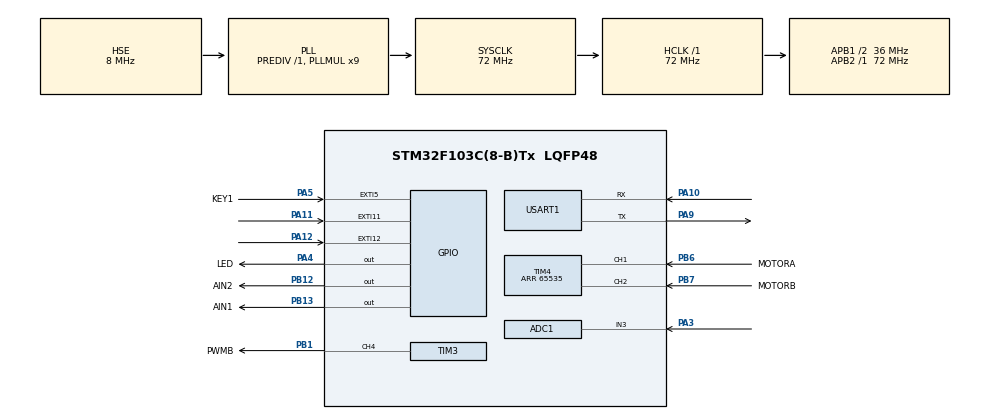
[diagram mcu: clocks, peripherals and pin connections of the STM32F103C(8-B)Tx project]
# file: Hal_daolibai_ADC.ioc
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ADC1.Channel-2\#ChannelRegularConversion=ADC_CHANNEL_3
ADC1.ContinuousConvMode=ENABLE
ADC1.DataAlign=ADC_DATAALIGN_RIGHT
ADC1.DiscontinuousConvMode=DISABLE
ADC1.EnableAnalogWatchDog=false
ADC1.EnableRegularConversion=ENABLE
ADC1.ExternalTrigConv=ADC_SOFTWARE_START
ADC1.InjNumberOfConversion=0
ADC1.NbrOfConversion=1
ADC1.NbrOfConversionFlag=1
ADC1.Rank-2\#ChannelRegularConversion=1
ADC1.SamplingTime-2\#ChannelRegularConversion=ADC_SAMPLETIME_55CYCLES_5
ADC1.ScanConvMode=ADC_SCAN_DISABLE
ADC1.master=1
Mcu.Family=STM32F1
Mcu.Name=STM32F103C(8-B)Tx
Mcu.Package=LQFP48
NVIC.ADC1_2_IRQn=true\:1\:0\:true\:false\:true\:true
NVIC.EXTI15_10_IRQn=true\:1\:0\:true\:false\:true\:true
NVIC.EXTI9_5_IRQn=true\:1\:0\:true\:false\:true\:true
NVIC.PriorityGroup=NVIC_PRIORITYGROUP_4
NVIC.TIM1_UP_IRQn=true\:1\:0\:true\:false\:true\:true
PA10.Mode=Asynchronous
PA10.Signal=USART1_RX
PA11.GPIO_ModeDefaultEXTI=GPIO_MODE_IT_FALLING
PA11.GPIO_PuPd=GPIO_PULLUP
PA11.Signal=GPXTI11
PA12.GPIO_ModeDefaultEXTI=GPIO_MODE_IT_FALLING
PA12.GPIO_PuPd=GPIO_PULLUP
PA12.Signal=GPXTI12
PA13.Mode=Serial_Wire
PA13.Signal=SYS_JTMS-SWDIO
PA14.Mode=Serial_Wire
PA14.Signal=SYS_JTCK-SWCLK
PA3.Signal=ADCx_IN3
PA4.GPIO_Label=LED
PA4.GPIO_PuPd=GPIO_NOPULL
PA4.GPIO_Speed=GPIO_SPEED_FREQ_LOW
PA4.PinState=GPIO_PIN_SET
PA4.Signal=GPIO_Output
PA5.GPIO_Label=KEY1
PA5.GPIO_ModeDefaultEXTI=GPIO_MODE_IT_FALLING
PA5.GPIO_PuPd=GPIO_PULLUP
PA5.Signal=GPXTI5
PA9.Mode=Asynchronous
PA9.Signal=USART1_TX
PB1.GPIO_Label=PWMB
PB1.GPIO_Speed=GPIO_SPEED_FREQ_MEDIUM
PB1.Signal=S_TIM3_CH4
PB12.GPIO_Label=AIN2
PB12.GPIO_Speed=GPIO_SPEED_FREQ_LOW
PB12.Signal=GPIO_Output
PB13.GPIO_Label=AIN1
PB13.GPIO_Speed=GPIO_SPEED_FREQ_LOW
PB13.Signal=GPIO_Output
PB6.GPIO_Label=MOTORA
PB6.Signal=S_TIM4_CH1
PB7.GPIO_Label=MOTORB
PB7.Signal=S_TIM4_CH2
PD0-OSC_IN.Mode=HSE-External-Oscillator
PD0-OSC_IN.Signal=RCC_OSC_IN
PD1-OSC_OUT.Mode=HSE-External-Oscillator
PD1-OSC_OUT.Signal=RCC_OSC_OUT
ProjectManager.HeapSize=0x200
ProjectManager.StackSize=0x400
ProjectManager.TargetToolchain=MDK-ARM V5
RCC.ADCPresc=RCC_ADCPCLK2_DIV6
RCC.AHBFreq_Value=72000000
RCC.APB1CLKDivider=RCC_HCLK_DIV2
RCC.APB1Freq_Value=36000000
RCC.APB1TimFreq_Value=72000000
RCC.APB2Freq_Value=72000000
RCC.APB2TimFreq_Value=72000000
RCC.HCLKFreq_Value=72000000
RCC.PLLMUL=RCC_PLL_MUL9
RCC.PLLSourceVirtual=RCC_PLLSOURCE_HSE
RCC.SYSCLKFreq_VALUE=72000000
RCC.SYSCLKSource=RCC_SYSCLKSOURCE_PLLCLK
RCC.USBFreq_Value=72000000
SH.ADCx_IN3.0=ADC1_IN3,IN3
SH.S_TIM3_CH4.0=TIM3_CH4,PWM Generation4 CH4
SH.S_TIM4_CH1.0=TIM4_CH1,Encoder_Interface
SH.S_TIM4_CH2.0=TIM4_CH2,Encoder_Interface
TIM1.AutoReloadPreload=TIM_AUTORELOAD_PRELOAD_DISABLE
TIM1.Period=1000
TIM1.Prescaler=71
TIM1.RepetitionCounter=0
TIM3.Channel-PWM\ Generation4\ CH4=TIM_CHANNEL_4
TIM3.Period=10000
TIM3.Prescaler=1
TIM4.EncoderMode=TIM_ENCODERMODE_TI12
TIM4.IC1Filter=6
TIM4.IC2Filter=6
TIM4.Period=65535
USART1.VirtualMode=VM_ASYNC
VP_TIM1_VS_ClockSourceINT.Mode=Internal
VP_TIM3_VS_ClockSourceINT.Mode=Internal
board=custom

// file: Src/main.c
/**
  ******************************************************************************
  * @file           : main.c
  * @brief          : Main program body
  ******************************************************************************
  ** This notice applies to any and all portions of this file
  * that are not between comment pairs USER CODE BEGIN and
  * USER CODE END. Other portions of this file, whether
  * inserted by the user or by software development tools
  * are owned by their respective copyright owners.
  *
  * COPYRIGHT(c) 2019 STMicroelectronics
  *
  * Redistribution and use in source and binary forms, with or without modification,
  * are permitted provided that the following conditions are met:
  *   1. Redistributions of source code must retain the above copyright notice,
  *      this list of conditions and the following disclaimer.
  *   2. Redistributions in binary form must reproduce the above copyright notice,
  *      this list of conditions and the following disclaimer in the documentation
  *      and/or other materials provided with the distribution.
  *   3. Neither the name of STMicroelectronics nor the names of its contributors
  *      may be used to endorse or promote products derived from this software
  *      without specific prior written permission.
  *
  * THIS SOFTWARE IS PROVIDED BY THE COPYRIGHT HOLDERS AND CONTRIBUTORS "AS IS"
  * AND ANY EXPRESS OR IMPLIED WARRANTIES, INCLUDING, BUT NOT LIMITED TO, THE
  * IMPLIED WARRANTIES OF MERCHANTABILITY AND FITNESS FOR A PARTICULAR PURPOSE ARE
  * DISCLAIMED. IN NO EVENT SHALL THE COPYRIGHT HOLDER OR CONTRIBUTORS BE LIABLE
  * FOR ANY DIRECT, INDIRECT, INCIDENTAL, SPECIAL, EXEMPLARY, OR CONSEQUENTIAL
  * DAMAGES (INCLUDING, BUT NOT LIMITED TO, PROCUREMENT OF SUBSTITUTE GOODS OR
  * SERVICES; LOSS OF USE, DATA, OR PROFITS; OR BUSINESS INTERRUPTION) HOWEVER
  * CAUSED AND ON ANY THEORY OF LIABILITY, WHETHER IN CONTRACT, STRICT LIABILITY,
  * OR TORT (INCLUDING NEGLIGENCE OR OTHERWISE) ARISING IN ANY WAY OUT OF THE USE
  * OF THIS SOFTWARE, EVEN IF ADVISED OF THE POSSIBILITY OF SUCH DAMAGE.
  *
  ******************************************************************************
  */
#include "main.h"
#include "stm32f1xx_hal.h"
#include "adc.h"
#include "tim.h"
#include "usart.h"
#include "gpio.h"

/* USER CODE BEGIN Includes */
#include "led.h"
#include "encoder.h"
#include "motor.h"
#include "control.h"
#include "adc.h"
#include "timer.h"
#include "tim.h"
#include "key.h"

#include "stdio.h"
#ifdef __GNUC__
#define PUTCHAR_PROTOTYPE int __io_putchar(int ch)
#else
#define PUTCHAR_PROTOTYPE int fputc(int ch, FILE *f)
#endif /* __GNUC__ */
PUTCHAR_PROTOTYPE
{
	HAL_UART_Transmit(&huart1 , (uint8_t *)&ch, 1, 0xFFFF);
	return ch;
}

/* USER CODE END Includes */

/* USER CODE BEGIN PV */
/* Private variables ---------------------------------------------------------*/

__IO float ADC_ConvertedValueLocal=0;			// 用于保存转换计算后的电压值
__IO int Angle_Balance=0;
__IO int Encoder_Balance=0;
__IO int Balance_Pwm=0;
__IO int Position_Pwm=0;
__IO int Position_Zero=10000;            //编码器的脉冲计数
__IO int Flag_Target=0;
__IO int Position_Target=0;
__IO int Moto=0;
__IO int Para1=0;
__IO int Para2=0;
__IO int Error_temp=0;
__IO int Error_Target=0;
__IO uint8_t Flag_Stop=1;
__IO uint8_t Position_Key=0;
__IO uint16_t ADC_ConvertedValue=0;			// AD转换结果值
__IO uint16_t timer_count=0;
__IO uint16_t timer_count2=0;
__IO uint16_t Times_up=0;

/* USER CODE END PV */

void SystemClock_Config(void);

/* USER CODE BEGIN PFP */
/* Private function prototypes -----------------------------------------------*/

/* USER CODE END PFP */

int main(void)
{

  /* MCU Configuration----------------------------------------------------------*/

  /* Reset of all peripherals, Initializes the Flash interface and the Systick. */
  HAL_Init();

  /* Configure the system clock */
  SystemClock_Config();

  /* Initialize all configured peripherals */
  MX_GPIO_Init();
  MX_USART1_UART_Init();
  MX_ADC1_Init();
  MX_TIM1_Init();
  MX_TIM4_Init();
  MX_TIM3_Init();
  /* USER CODE BEGIN 2 */
//	Angle_Adc_Init();
	Motor_Init();
	HAL_ADC_Start_IT(&hadc1);
	HAL_TIM_Base_Start_IT(&htim1);
	HAL_TIM_Base_Start_IT(&htim4);
	HAL_TIM_Base_Start_IT(&htim3);
	HAL_TIM_Encoder_Start(&htim4,TIM_CHANNEL_ALL);
	PID_Init(&Motor_AnglePID, Angle_KP, Angle_KI,Angle_KD);
	PID_Init(&Motor_PostionPID, Position_KP, Position_KI,Position_KD);
	printf("----这是一个ADC单通道电压采集+按键中断+定时器+内外环PID实验-----\n");
  /* USER CODE END 2 */

  /* Infinite loop */
  /* USER CODE BEGIN WHILE */
	PID_SetPoint(&Motor_AnglePID,ZHONGZHI);

  while (1)
  {

  /* USER CODE END WHILE */

  /* USER CODE BEGIN 3 */
		printf("ADC_ConvertedValue当前值为：   %d\r\n",ADC_ConvertedValue);
		HAL_Delay(500);

  }
  /* USER CODE END 3 */

}

void SystemClock_Config(void)
{

  RCC_OscInitTypeDef RCC_OscInitStruct;
  RCC_ClkInitTypeDef RCC_ClkInitStruct;
  RCC_PeriphCLKInitTypeDef PeriphClkInit;

    /**Initializes the CPU, AHB and APB busses clocks
    */
  RCC_OscInitStruct.OscillatorType = RCC_OSCILLATORTYPE_HSE;
  RCC_OscInitStruct.HSEState = RCC_HSE_ON;
  RCC_OscInitStruct.HSEPredivValue = RCC_HSE_PREDIV_DIV1;
  RCC_OscInitStruct.HSIState = RCC_HSI_ON;
  RCC_OscInitStruct.PLL.PLLState = RCC_PLL_ON;
  RCC_OscInitStruct.PLL.PLLSource = RCC_PLLSOURCE_HSE;
  RCC_OscInitStruct.PLL.PLLMUL = RCC_PLL_MUL9;
  if (HAL_RCC_OscConfig(&RCC_OscInitStruct) != HAL_OK)
  {
    _Error_Handler(__FILE__, __LINE__);
  }

    /**Initializes the CPU, AHB and APB busses clocks
    */
  RCC_ClkInitStruct.ClockType = RCC_CLOCKTYPE_HCLK|RCC_CLOCKTYPE_SYSCLK
                              |RCC_CLOCKTYPE_PCLK1|RCC_CLOCKTYPE_PCLK2;
  RCC_ClkInitStruct.SYSCLKSource = RCC_SYSCLKSOURCE_PLLCLK;
  RCC_ClkInitStruct.AHBCLKDivider = RCC_SYSCLK_DIV1;
  RCC_ClkInitStruct.APB1CLKDivider = RCC_HCLK_DIV2;
  RCC_ClkInitStruct.APB2CLKDivider = RCC_HCLK_DIV1;

  if (HAL_RCC_ClockConfig(&RCC_ClkInitStruct, FLASH_LATENCY_2) != HAL_OK)
  {
    _Error_Handler(__FILE__, __LINE__);
  }

  PeriphClkInit.PeriphClockSelection = RCC_PERIPHCLK_ADC;
  PeriphClkInit.AdcClockSelection = RCC_ADCPCLK2_DIV6;
  if (HAL_RCCEx_PeriphCLKConfig(&PeriphClkInit) != HAL_OK)
  {
    _Error_Handler(__FILE__, __LINE__);
  }

    /**Configure the Systick interrupt time
    */
  HAL_SYSTICK_Config(HAL_RCC_GetHCLKFreq()/1000);

    /**Configure the Systick
    */
  HAL_SYSTICK_CLKSourceConfig(SYSTICK_CLKSOURCE_HCLK);

  /* SysTick_IRQn interrupt configuration */
  HAL_NVIC_SetPriority(SysTick_IRQn, 0, 0);
}

/* USER CODE BEGIN 4 */

/**
  * 函数功能: AD转换结束回调函数
  * 输入参数: hadc：AD设备类型句柄
  * 返 回 值: 无
  * 说    明: 无
  */
void HAL_ADC_ConvCpltCallback(ADC_HandleTypeDef* hadc)
{
  ADC_ConvertedValue=HAL_ADC_GetValue(&hadc1);
}

/* USER CODE END 4 */

void _Error_Handler(char *file, int line)
{
  while(1)
  {
  }
}

/************************ (C) COPYRIGHT STMicroelectronics *****END OF FILE****/
